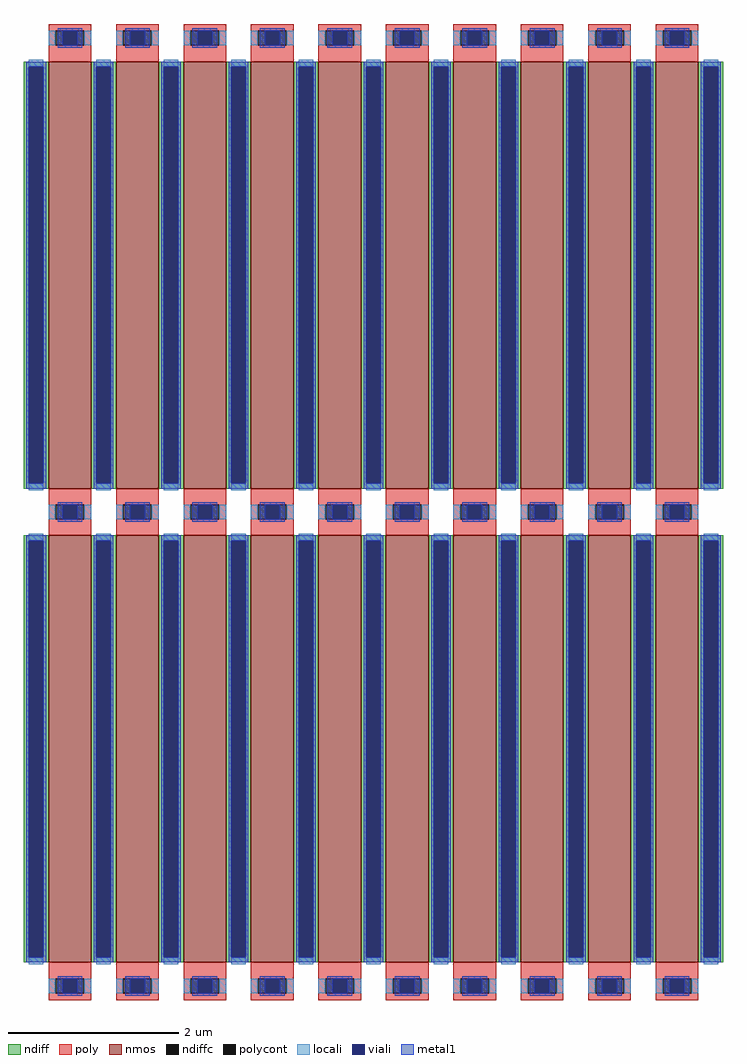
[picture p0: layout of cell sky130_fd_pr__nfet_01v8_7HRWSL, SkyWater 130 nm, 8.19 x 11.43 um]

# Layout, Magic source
magic
tech sky130A
magscale 1 2
<< nmos >>
rect -761 55 -661 1055
rect -603 55 -503 1055
rect -445 55 -345 1055
rect -287 55 -187 1055
rect -129 55 -29 1055
rect 29 55 129 1055
rect 187 55 287 1055
rect 345 55 445 1055
rect 503 55 603 1055
rect 661 55 761 1055
rect -761 -1055 -661 -55
rect -603 -1055 -503 -55
rect -445 -1055 -345 -55
rect -287 -1055 -187 -55
rect -129 -1055 -29 -55
rect 29 -1055 129 -55
rect 187 -1055 287 -55
rect 345 -1055 445 -55
rect 503 -1055 603 -55
rect 661 -1055 761 -55
<< ndiff >>
rect -819 1043 -761 1055
rect -819 67 -807 1043
rect -773 67 -761 1043
rect -819 55 -761 67
rect -661 1043 -603 1055
rect -661 67 -649 1043
rect -615 67 -603 1043
rect -661 55 -603 67
rect -503 1043 -445 1055
rect -503 67 -491 1043
rect -457 67 -445 1043
rect -503 55 -445 67
rect -345 1043 -287 1055
rect -345 67 -333 1043
rect -299 67 -287 1043
rect -345 55 -287 67
rect -187 1043 -129 1055
rect -187 67 -175 1043
rect -141 67 -129 1043
rect -187 55 -129 67
rect -29 1043 29 1055
rect -29 67 -17 1043
rect 17 67 29 1043
rect -29 55 29 67
rect 129 1043 187 1055
rect 129 67 141 1043
rect 175 67 187 1043
rect 129 55 187 67
rect 287 1043 345 1055
rect 287 67 299 1043
rect 333 67 345 1043
rect 287 55 345 67
rect 445 1043 503 1055
rect 445 67 457 1043
rect 491 67 503 1043
rect 445 55 503 67
rect 603 1043 661 1055
rect 603 67 615 1043
rect 649 67 661 1043
rect 603 55 661 67
rect 761 1043 819 1055
rect 761 67 773 1043
rect 807 67 819 1043
rect 761 55 819 67
rect -819 -67 -761 -55
rect -819 -1043 -807 -67
rect -773 -1043 -761 -67
rect -819 -1055 -761 -1043
rect -661 -67 -603 -55
rect -661 -1043 -649 -67
rect -615 -1043 -603 -67
rect -661 -1055 -603 -1043
rect -503 -67 -445 -55
rect -503 -1043 -491 -67
rect -457 -1043 -445 -67
rect -503 -1055 -445 -1043
rect -345 -67 -287 -55
rect -345 -1043 -333 -67
rect -299 -1043 -287 -67
rect -345 -1055 -287 -1043
rect -187 -67 -129 -55
rect -187 -1043 -175 -67
rect -141 -1043 -129 -67
rect -187 -1055 -129 -1043
rect -29 -67 29 -55
rect -29 -1043 -17 -67
rect 17 -1043 29 -67
rect -29 -1055 29 -1043
rect 129 -67 187 -55
rect 129 -1043 141 -67
rect 175 -1043 187 -67
rect 129 -1055 187 -1043
rect 287 -67 345 -55
rect 287 -1043 299 -67
rect 333 -1043 345 -67
rect 287 -1055 345 -1043
rect 445 -67 503 -55
rect 445 -1043 457 -67
rect 491 -1043 503 -67
rect 445 -1055 503 -1043
rect 603 -67 661 -55
rect 603 -1043 615 -67
rect 649 -1043 661 -67
rect 603 -1055 661 -1043
rect 761 -67 819 -55
rect 761 -1043 773 -67
rect 807 -1043 819 -67
rect 761 -1055 819 -1043
<< ndiffc >>
rect -807 67 -773 1043
rect -649 67 -615 1043
rect -491 67 -457 1043
rect -333 67 -299 1043
rect -175 67 -141 1043
rect -17 67 17 1043
rect 141 67 175 1043
rect 299 67 333 1043
rect 457 67 491 1043
rect 615 67 649 1043
rect 773 67 807 1043
rect -807 -1043 -773 -67
rect -649 -1043 -615 -67
rect -491 -1043 -457 -67
rect -333 -1043 -299 -67
rect -175 -1043 -141 -67
rect -17 -1043 17 -67
rect 141 -1043 175 -67
rect 299 -1043 333 -67
rect 457 -1043 491 -67
rect 615 -1043 649 -67
rect 773 -1043 807 -67
<< poly >>
rect -761 1127 -661 1143
rect -761 1093 -745 1127
rect -677 1093 -661 1127
rect -761 1055 -661 1093
rect -603 1127 -503 1143
rect -603 1093 -587 1127
rect -519 1093 -503 1127
rect -603 1055 -503 1093
rect -445 1127 -345 1143
rect -445 1093 -429 1127
rect -361 1093 -345 1127
rect -445 1055 -345 1093
rect -287 1127 -187 1143
rect -287 1093 -271 1127
rect -203 1093 -187 1127
rect -287 1055 -187 1093
rect -129 1127 -29 1143
rect -129 1093 -113 1127
rect -45 1093 -29 1127
rect -129 1055 -29 1093
rect 29 1127 129 1143
rect 29 1093 45 1127
rect 113 1093 129 1127
rect 29 1055 129 1093
rect 187 1127 287 1143
rect 187 1093 203 1127
rect 271 1093 287 1127
rect 187 1055 287 1093
rect 345 1127 445 1143
rect 345 1093 361 1127
rect 429 1093 445 1127
rect 345 1055 445 1093
rect 503 1127 603 1143
rect 503 1093 519 1127
rect 587 1093 603 1127
rect 503 1055 603 1093
rect 661 1127 761 1143
rect 661 1093 677 1127
rect 745 1093 761 1127
rect 661 1055 761 1093
rect -761 17 -661 55
rect -761 -17 -745 17
rect -677 -17 -661 17
rect -761 -55 -661 -17
rect -603 17 -503 55
rect -603 -17 -587 17
rect -519 -17 -503 17
rect -603 -55 -503 -17
rect -445 17 -345 55
rect -445 -17 -429 17
rect -361 -17 -345 17
rect -445 -55 -345 -17
rect -287 17 -187 55
rect -287 -17 -271 17
rect -203 -17 -187 17
rect -287 -55 -187 -17
rect -129 17 -29 55
rect -129 -17 -113 17
rect -45 -17 -29 17
rect -129 -55 -29 -17
rect 29 17 129 55
rect 29 -17 45 17
rect 113 -17 129 17
rect 29 -55 129 -17
rect 187 17 287 55
rect 187 -17 203 17
rect 271 -17 287 17
rect 187 -55 287 -17
rect 345 17 445 55
rect 345 -17 361 17
rect 429 -17 445 17
rect 345 -55 445 -17
rect 503 17 603 55
rect 503 -17 519 17
rect 587 -17 603 17
rect 503 -55 603 -17
rect 661 17 761 55
rect 661 -17 677 17
rect 745 -17 761 17
rect 661 -55 761 -17
rect -761 -1093 -661 -1055
rect -761 -1127 -745 -1093
rect -677 -1127 -661 -1093
rect -761 -1143 -661 -1127
rect -603 -1093 -503 -1055
rect -603 -1127 -587 -1093
rect -519 -1127 -503 -1093
rect -603 -1143 -503 -1127
rect -445 -1093 -345 -1055
rect -445 -1127 -429 -1093
rect -361 -1127 -345 -1093
rect -445 -1143 -345 -1127
rect -287 -1093 -187 -1055
rect -287 -1127 -271 -1093
rect -203 -1127 -187 -1093
rect -287 -1143 -187 -1127
rect -129 -1093 -29 -1055
rect -129 -1127 -113 -1093
rect -45 -1127 -29 -1093
rect -129 -1143 -29 -1127
rect 29 -1093 129 -1055
rect 29 -1127 45 -1093
rect 113 -1127 129 -1093
rect 29 -1143 129 -1127
rect 187 -1093 287 -1055
rect 187 -1127 203 -1093
rect 271 -1127 287 -1093
rect 187 -1143 287 -1127
rect 345 -1093 445 -1055
rect 345 -1127 361 -1093
rect 429 -1127 445 -1093
rect 345 -1143 445 -1127
rect 503 -1093 603 -1055
rect 503 -1127 519 -1093
rect 587 -1127 603 -1093
rect 503 -1143 603 -1127
rect 661 -1093 761 -1055
rect 661 -1127 677 -1093
rect 745 -1127 761 -1093
rect 661 -1143 761 -1127
<< polycont >>
rect -745 1093 -677 1127
rect -587 1093 -519 1127
rect -429 1093 -361 1127
rect -271 1093 -203 1127
rect -113 1093 -45 1127
rect 45 1093 113 1127
rect 203 1093 271 1127
rect 361 1093 429 1127
rect 519 1093 587 1127
rect 677 1093 745 1127
rect -745 -17 -677 17
rect -587 -17 -519 17
rect -429 -17 -361 17
rect -271 -17 -203 17
rect -113 -17 -45 17
rect 45 -17 113 17
rect 203 -17 271 17
rect 361 -17 429 17
rect 519 -17 587 17
rect 677 -17 745 17
rect -745 -1127 -677 -1093
rect -587 -1127 -519 -1093
rect -429 -1127 -361 -1093
rect -271 -1127 -203 -1093
rect -113 -1127 -45 -1093
rect 45 -1127 113 -1093
rect 203 -1127 271 -1093
rect 361 -1127 429 -1093
rect 519 -1127 587 -1093
rect 677 -1127 745 -1093
<< locali >>
rect -761 1093 -745 1127
rect -677 1093 -661 1127
rect -603 1093 -587 1127
rect -519 1093 -503 1127
rect -445 1093 -429 1127
rect -361 1093 -345 1127
rect -287 1093 -271 1127
rect -203 1093 -187 1127
rect -129 1093 -113 1127
rect -45 1093 -29 1127
rect 29 1093 45 1127
rect 113 1093 129 1127
rect 187 1093 203 1127
rect 271 1093 287 1127
rect 345 1093 361 1127
rect 429 1093 445 1127
rect 503 1093 519 1127
rect 587 1093 603 1127
rect 661 1093 677 1127
rect 745 1093 761 1127
rect -807 1043 -773 1059
rect -807 51 -773 67
rect -649 1043 -615 1059
rect -649 51 -615 67
rect -491 1043 -457 1059
rect -491 51 -457 67
rect -333 1043 -299 1059
rect -333 51 -299 67
rect -175 1043 -141 1059
rect -175 51 -141 67
rect -17 1043 17 1059
rect -17 51 17 67
rect 141 1043 175 1059
rect 141 51 175 67
rect 299 1043 333 1059
rect 299 51 333 67
rect 457 1043 491 1059
rect 457 51 491 67
rect 615 1043 649 1059
rect 615 51 649 67
rect 773 1043 807 1059
rect 773 51 807 67
rect -761 -17 -745 17
rect -677 -17 -661 17
rect -603 -17 -587 17
rect -519 -17 -503 17
rect -445 -17 -429 17
rect -361 -17 -345 17
rect -287 -17 -271 17
rect -203 -17 -187 17
rect -129 -17 -113 17
rect -45 -17 -29 17
rect 29 -17 45 17
rect 113 -17 129 17
rect 187 -17 203 17
rect 271 -17 287 17
rect 345 -17 361 17
rect 429 -17 445 17
rect 503 -17 519 17
rect 587 -17 603 17
rect 661 -17 677 17
rect 745 -17 761 17
rect -807 -67 -773 -51
rect -807 -1059 -773 -1043
rect -649 -67 -615 -51
rect -649 -1059 -615 -1043
rect -491 -67 -457 -51
rect -491 -1059 -457 -1043
rect -333 -67 -299 -51
rect -333 -1059 -299 -1043
rect -175 -67 -141 -51
rect -175 -1059 -141 -1043
rect -17 -67 17 -51
rect -17 -1059 17 -1043
rect 141 -67 175 -51
rect 141 -1059 175 -1043
rect 299 -67 333 -51
rect 299 -1059 333 -1043
rect 457 -67 491 -51
rect 457 -1059 491 -1043
rect 615 -67 649 -51
rect 615 -1059 649 -1043
rect 773 -67 807 -51
rect 773 -1059 807 -1043
rect -761 -1127 -745 -1093
rect -677 -1127 -661 -1093
rect -603 -1127 -587 -1093
rect -519 -1127 -503 -1093
rect -445 -1127 -429 -1093
rect -361 -1127 -345 -1093
rect -287 -1127 -271 -1093
rect -203 -1127 -187 -1093
rect -129 -1127 -113 -1093
rect -45 -1127 -29 -1093
rect 29 -1127 45 -1093
rect 113 -1127 129 -1093
rect 187 -1127 203 -1093
rect 271 -1127 287 -1093
rect 345 -1127 361 -1093
rect 429 -1127 445 -1093
rect 503 -1127 519 -1093
rect 587 -1127 603 -1093
rect 661 -1127 677 -1093
rect 745 -1127 761 -1093
<< viali >>
rect -728 1093 -694 1127
rect -570 1093 -536 1127
rect -412 1093 -378 1127
rect -254 1093 -220 1127
rect -96 1093 -62 1127
rect 62 1093 96 1127
rect 220 1093 254 1127
rect 378 1093 412 1127
rect 536 1093 570 1127
rect 694 1093 728 1127
rect -807 67 -773 1043
rect -649 67 -615 1043
rect -491 67 -457 1043
rect -333 67 -299 1043
rect -175 67 -141 1043
rect -17 67 17 1043
rect 141 67 175 1043
rect 299 67 333 1043
rect 457 67 491 1043
rect 615 67 649 1043
rect 773 67 807 1043
rect -728 -17 -694 17
rect -570 -17 -536 17
rect -412 -17 -378 17
rect -254 -17 -220 17
rect -96 -17 -62 17
rect 62 -17 96 17
rect 220 -17 254 17
rect 378 -17 412 17
rect 536 -17 570 17
rect 694 -17 728 17
rect -807 -1043 -773 -67
rect -649 -1043 -615 -67
rect -491 -1043 -457 -67
rect -333 -1043 -299 -67
rect -175 -1043 -141 -67
rect -17 -1043 17 -67
rect 141 -1043 175 -67
rect 299 -1043 333 -67
rect 457 -1043 491 -67
rect 615 -1043 649 -67
rect 773 -1043 807 -67
rect -728 -1127 -694 -1093
rect -570 -1127 -536 -1093
rect -412 -1127 -378 -1093
rect -254 -1127 -220 -1093
rect -96 -1127 -62 -1093
rect 62 -1127 96 -1093
rect 220 -1127 254 -1093
rect 378 -1127 412 -1093
rect 536 -1127 570 -1093
rect 694 -1127 728 -1093
<< metal1 >>
rect -740 1127 -682 1133
rect -740 1093 -728 1127
rect -694 1093 -682 1127
rect -740 1087 -682 1093
rect -582 1127 -524 1133
rect -582 1093 -570 1127
rect -536 1093 -524 1127
rect -582 1087 -524 1093
rect -424 1127 -366 1133
rect -424 1093 -412 1127
rect -378 1093 -366 1127
rect -424 1087 -366 1093
rect -266 1127 -208 1133
rect -266 1093 -254 1127
rect -220 1093 -208 1127
rect -266 1087 -208 1093
rect -108 1127 -50 1133
rect -108 1093 -96 1127
rect -62 1093 -50 1127
rect -108 1087 -50 1093
rect 50 1127 108 1133
rect 50 1093 62 1127
rect 96 1093 108 1127
rect 50 1087 108 1093
rect 208 1127 266 1133
rect 208 1093 220 1127
rect 254 1093 266 1127
rect 208 1087 266 1093
rect 366 1127 424 1133
rect 366 1093 378 1127
rect 412 1093 424 1127
rect 366 1087 424 1093
rect 524 1127 582 1133
rect 524 1093 536 1127
rect 570 1093 582 1127
rect 524 1087 582 1093
rect 682 1127 740 1133
rect 682 1093 694 1127
rect 728 1093 740 1127
rect 682 1087 740 1093
rect -813 1043 -767 1055
rect -813 67 -807 1043
rect -773 67 -767 1043
rect -813 55 -767 67
rect -655 1043 -609 1055
rect -655 67 -649 1043
rect -615 67 -609 1043
rect -655 55 -609 67
rect -497 1043 -451 1055
rect -497 67 -491 1043
rect -457 67 -451 1043
rect -497 55 -451 67
rect -339 1043 -293 1055
rect -339 67 -333 1043
rect -299 67 -293 1043
rect -339 55 -293 67
rect -181 1043 -135 1055
rect -181 67 -175 1043
rect -141 67 -135 1043
rect -181 55 -135 67
rect -23 1043 23 1055
rect -23 67 -17 1043
rect 17 67 23 1043
rect -23 55 23 67
rect 135 1043 181 1055
rect 135 67 141 1043
rect 175 67 181 1043
rect 135 55 181 67
rect 293 1043 339 1055
rect 293 67 299 1043
rect 333 67 339 1043
rect 293 55 339 67
rect 451 1043 497 1055
rect 451 67 457 1043
rect 491 67 497 1043
rect 451 55 497 67
rect 609 1043 655 1055
rect 609 67 615 1043
rect 649 67 655 1043
rect 609 55 655 67
rect 767 1043 813 1055
rect 767 67 773 1043
rect 807 67 813 1043
rect 767 55 813 67
rect -740 17 -682 23
rect -740 -17 -728 17
rect -694 -17 -682 17
rect -740 -23 -682 -17
rect -582 17 -524 23
rect -582 -17 -570 17
rect -536 -17 -524 17
rect -582 -23 -524 -17
rect -424 17 -366 23
rect -424 -17 -412 17
rect -378 -17 -366 17
rect -424 -23 -366 -17
rect -266 17 -208 23
rect -266 -17 -254 17
rect -220 -17 -208 17
rect -266 -23 -208 -17
rect -108 17 -50 23
rect -108 -17 -96 17
rect -62 -17 -50 17
rect -108 -23 -50 -17
rect 50 17 108 23
rect 50 -17 62 17
rect 96 -17 108 17
rect 50 -23 108 -17
rect 208 17 266 23
rect 208 -17 220 17
rect 254 -17 266 17
rect 208 -23 266 -17
rect 366 17 424 23
rect 366 -17 378 17
rect 412 -17 424 17
rect 366 -23 424 -17
rect 524 17 582 23
rect 524 -17 536 17
rect 570 -17 582 17
rect 524 -23 582 -17
rect 682 17 740 23
rect 682 -17 694 17
rect 728 -17 740 17
rect 682 -23 740 -17
rect -813 -67 -767 -55
rect -813 -1043 -807 -67
rect -773 -1043 -767 -67
rect -813 -1055 -767 -1043
rect -655 -67 -609 -55
rect -655 -1043 -649 -67
rect -615 -1043 -609 -67
rect -655 -1055 -609 -1043
rect -497 -67 -451 -55
rect -497 -1043 -491 -67
rect -457 -1043 -451 -67
rect -497 -1055 -451 -1043
rect -339 -67 -293 -55
rect -339 -1043 -333 -67
rect -299 -1043 -293 -67
rect -339 -1055 -293 -1043
rect -181 -67 -135 -55
rect -181 -1043 -175 -67
rect -141 -1043 -135 -67
rect -181 -1055 -135 -1043
rect -23 -67 23 -55
rect -23 -1043 -17 -67
rect 17 -1043 23 -67
rect -23 -1055 23 -1043
rect 135 -67 181 -55
rect 135 -1043 141 -67
rect 175 -1043 181 -67
rect 135 -1055 181 -1043
rect 293 -67 339 -55
rect 293 -1043 299 -67
rect 333 -1043 339 -67
rect 293 -1055 339 -1043
rect 451 -67 497 -55
rect 451 -1043 457 -67
rect 491 -1043 497 -67
rect 451 -1055 497 -1043
rect 609 -67 655 -55
rect 609 -1043 615 -67
rect 649 -1043 655 -67
rect 609 -1055 655 -1043
rect 767 -67 813 -55
rect 767 -1043 773 -67
rect 807 -1043 813 -67
rect 767 -1055 813 -1043
rect -740 -1093 -682 -1087
rect -740 -1127 -728 -1093
rect -694 -1127 -682 -1093
rect -740 -1133 -682 -1127
rect -582 -1093 -524 -1087
rect -582 -1127 -570 -1093
rect -536 -1127 -524 -1093
rect -582 -1133 -524 -1127
rect -424 -1093 -366 -1087
rect -424 -1127 -412 -1093
rect -378 -1127 -366 -1093
rect -424 -1133 -366 -1127
rect -266 -1093 -208 -1087
rect -266 -1127 -254 -1093
rect -220 -1127 -208 -1093
rect -266 -1133 -208 -1127
rect -108 -1093 -50 -1087
rect -108 -1127 -96 -1093
rect -62 -1127 -50 -1093
rect -108 -1133 -50 -1127
rect 50 -1093 108 -1087
rect 50 -1127 62 -1093
rect 96 -1127 108 -1093
rect 50 -1133 108 -1127
rect 208 -1093 266 -1087
rect 208 -1127 220 -1093
rect 254 -1127 266 -1093
rect 208 -1133 266 -1127
rect 366 -1093 424 -1087
rect 366 -1127 378 -1093
rect 412 -1127 424 -1093
rect 366 -1133 424 -1127
rect 524 -1093 582 -1087
rect 524 -1127 536 -1093
rect 570 -1127 582 -1093
rect 524 -1133 582 -1127
rect 682 -1093 740 -1087
rect 682 -1127 694 -1093
rect 728 -1127 740 -1093
rect 682 -1133 740 -1127
<< properties >>
string gencell sky130_fd_pr__nfet_01v8
string library sky130
string parameters w 5.0 l 0.5 m 2 nf 10 diffcov 100 polycov 100 guard 0 glc 1 grc 1 gtc 1 gbc 1 tbcov 100 rlcov 100 topc 1 botc 1 poverlap 1 doverlap 1 lmin 0.15 wmin 0.42 compatible {sky130_fd_pr__nfet_01v8 sky130_fd_pr__nfet_01v8_lvt  sky130_fd_bs_flash__special_sonosfet_star  sky130_fd_pr__nfet_g5v0d10v5 sky130_fd_pr__nfet_05v0_nvt  sky130_fd_pr__nfet_03v3_nvt} full_metal 1 viasrc 100 viadrn 100 viagate 50 viagb 0 viagr 0 viagl 0 viagt 0
<< end >>
